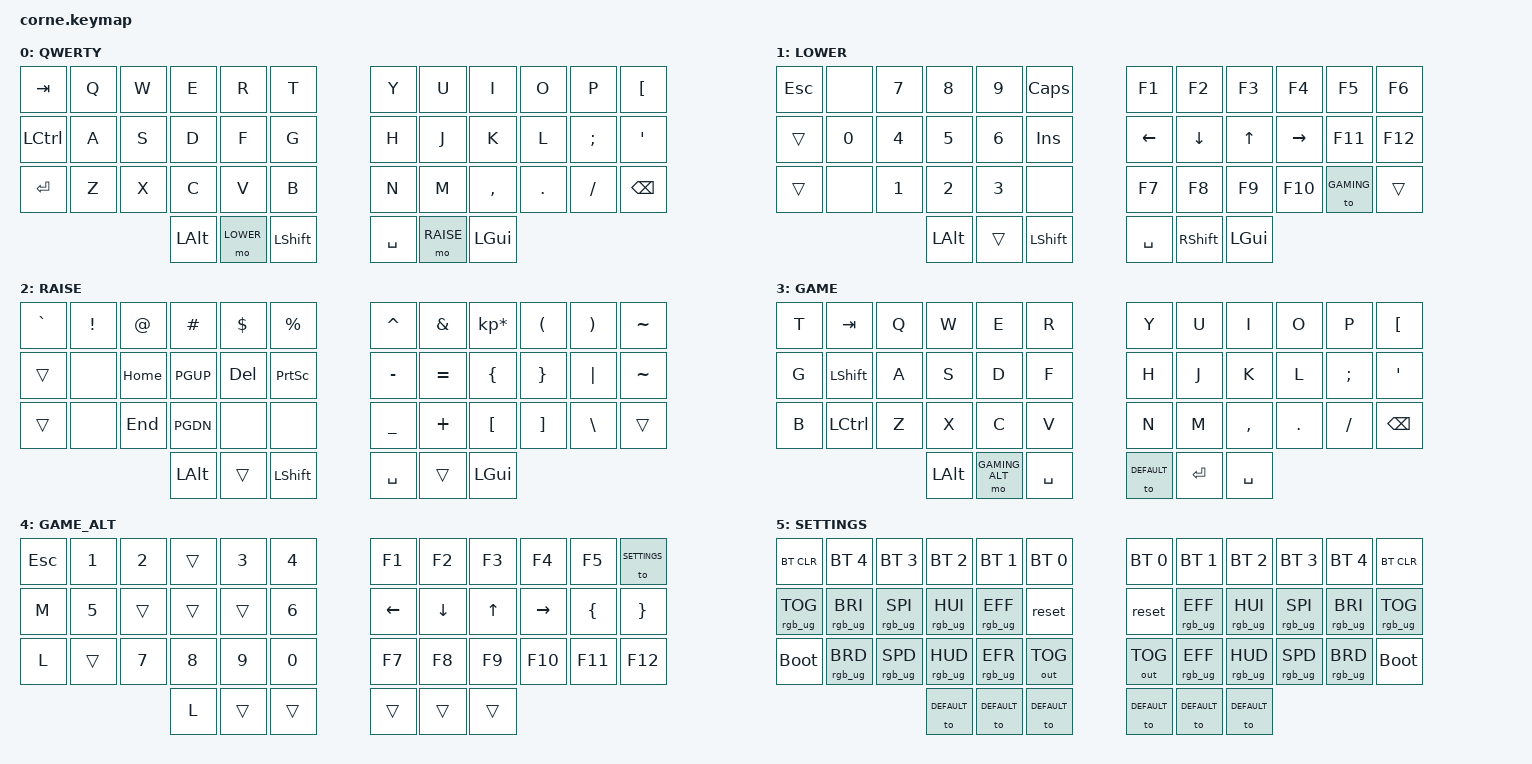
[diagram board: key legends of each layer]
/*
 * Copyright (c) 2020 The ZMK Contributors
 *
 * SPDX-License-Identifier: MIT
 */


#include <behaviors.dtsi>
#include <dt-bindings/zmk/keys.h>
#include <dt-bindings/zmk/bt.h>
#include <dt-bindings/zmk/outputs.h>
#include <dt-bindings/zmk/rgb.h>
#include <dt-bindings/zmk/outputs.h>

#define DEFAULT 0
#define LOWER 1
#define RAISE 2
#define GAMING 3
#define GAMING_ALT 4
#define SETTINGS 5

&lt {
    tapping-term-ms = <2000>;
};

 /{

        keymap {
                compatible = "zmk,keymap";

                default_layer {
                label = "QWERTY";
                bindings = <
// -------------------------------------------------------------------                              -------------------------------------------------------------------
// |    TAB   |     Q    |     W    |     E    |     R    |     T    |                              |     Y    |     U    |     I    |     O    |     P    |     [    |
// |   LCTRL  |     A    |     S    |     D    |     F    |     G    |______________________________|     H    |     J    |     K    |     L    |     ;    |     "    |
// |   ENTER  |     Z    |     X    |     C    |     V    |     B    |                              |     N    |     M    |     ,    |     .    |     /    | BACKSPACE|
// \\\\\\\\\\\\\\\\\\\\\\\\\\\\\\\\\|   LALT   |   LOWER  |   LSHFT  |                              |   SPACE  |   RAISE  |   LGUI   |/////////////////////////////////
// -------------------------------------------------------------------                              -------------------------------------------------------------------
    &kp TAB     &kp Q      &kp W       &kp E      &kp R     &kp T                                     &kp Y      &kp U      &kp I       &kp O     &kp P      &kp LBKT
    &kp LCTRL   &kp A      &kp S       &kp D      &kp F     &kp G                                     &kp H      &kp J      &kp K       &kp L     &kp SEMI   &kp SQT
    &kp ENTER   &kp Z      &kp X       &kp C      &kp V     &kp B                                     &kp N      &kp M      &kp COMMA   &kp DOT   &kp FSLH   &kp BSPC
                                       &kp LALT   &mo LOWER &kp  LSHFT                                &kp SPACE  &mo RAISE  &kp LGUI
                        >;
         };
                lower_layer {
                label = "LOWER";
                bindings = <
// -------------------------------------------------------------------                              -------------------------------------------------------------------
// |    ESC   |          |     7    |     8    |     9    |   CAPS   |                              |    F1    |    F2    |    F3    |    F4    |    F5    |    F6    |
// |   LCTRL  |     0    |     4    |     5    |     6    |   INS    |______________________________|  ArLeft  |  ArDown  |   ArUp   |  ArRight |    F11   |    F12   |
// |   ENTER  |          |     1    |     2    |     3    |          |                              |    F7    |    F8    |    F9    |    F10   |  GAMING  | BACKSPACE|
// \\\\\\\\\\\\\\\\\\\\\\\\\\\\\\\\\|    LALT  |   LOWER  |   LSHFT  |                              |  SPACE   |   RSHFT  |   LGUI   |/////////////////////////////////
// -------------------------------------------------------------------                              -------------------------------------------------------------------
    &kp ESC     &none      &kp N7      &kp N8     &kp N9    &kp CAPS                                  &kp F1     &kp F2     &kp F3      &kp F4    &kp F5     &kp F6
    &trans      &kp N0     &kp N4      &kp N5     &kp N6    &kp INS                                   &kp LEFT   &kp DOWN   &kp UP      &kp RIGHT &kp F11    &kp F12
    &trans      &none      &kp N1      &kp N2     &kp N3    &none                                     &kp F7     &kp F8     &kp F9      &kp F10   &to GAMING &trans
                                       &kp LALT   &trans    &kp LSHFT                                 &kp SPACE  &kp RSHFT  &kp LGUI 
                        >;
                };

                raise_layer {
                label = "RAISE";
                bindings = <
// -------------------------------------------------------------------                              -------------------------------------------------------------------
// |     `    |     !    |     @    |     #    |     $    |     %    |                              |     ^    |     &    |     *    |     (    |     )    |     ~    |
// |   LCTRL  |          |    HOME  |    PgUp  |    DEL   |   PRINT  |______________________________|     -    |     =    |     {    |     }    |     |    |     ~    |
// |   ENTER  |          |    END   |    PgDn  |          |          |                              |     _    |     +    |     [    |     ]    |     \    | BACKSPACE|
// \\\\\\\\\\\\\\\\\\\\\\\\\\\\\\\\\|    LALT  |   LOWER  |   LSHFT  |                              |   SPACE  |   RAISE  |   LGUI   |/////////////////////////////////
// -------------------------------------------------------------------                              -------------------------------------------------------------------
    &kp GRAVE   &kp EXCL   &kp AT      &kp HASH   &kp DLLR  &kp PRCNT                                 &kp CARET  &kp AMPS  &kp KP_MULTIPLY &kp LPAR &kp RPAR      &kp TILDE
    &trans      &none      &kp HOME    &kp PGUP   &kp DEL   &kp PSCRN                                 &kp MINUS  &kp EQUAL &kp LBRC        &kp RBRC &kp PIPE      &kp TILDE
    &trans      &none      &kp END     &kp PGDN   &none     &none                                     &kp UNDER  &kp PLUS  &kp LBKT        &kp RBKT &kp BACKSLASH &trans
                                       &kp LALT   &trans    &kp LSHFT                                 &kp SPACE  &trans    &kp LGUI 
                        >;
                };

                gaming_layer {
                label = "GAME";
                bindings = <
// -------------------------------------------------------------------                              -------------------------------------------------------------------
// |     T    |    TAB   |     Q    |     W    |     E    |     R    |                              |     Y    |     U    |     I    |     O    |     P    |     [    |
// |     G    |   LSHFT  |     A    |     S    |     D    |     F    |______________________________|     H    |     J    |     K    |     L    |     ;    |     "    |
// |     B    |   LCTRL  |     Z    |     X    |     C    |     V    |                              |     N    |     M    |     ,    |     .    |     /    | BACKSPACE|
// \\\\\\\\\\\\\\\\\\\\\\\\\\\\\\\\\|    LALT  |GAMING_ALT|   SPACE  |                              |  DEFAULT |   ENTER  |   SPACE  |/////////////////////////////////
// -------------------------------------------------------------------                              -------------------------------------------------------------------
    &kp T       &kp TAB    &kp Q       &kp W      &kp E          &kp R                                &kp Y       &kp U      &kp I      &kp O     &kp P      &kp LBKT
    &kp G       &kp LSHFT  &kp A       &kp S      &kp D          &kp F                                &kp H       &kp J      &kp K      &kp L     &kp SEMI   &kp SQT
    &kp B       &kp LCTRL  &kp Z       &kp X      &kp C          &kp V                                &kp N       &kp M      &kp COMMA  &kp DOT   &kp FSLH   &kp BSPC
                                       &kp LALT   &mo GAMING_ALT &kp SPACE                            &to DEFAULT &kp ENTER  &kp SPACE 
                        >;
                };
                   
                gaming_alt_layer {
                label = "GAME_ALT";
                bindings = <
// -------------------------------------------------------------------                              -------------------------------------------------------------------
// |    ESC   |     1    |     2    |     W    |     3    |     4    |                              |    F1    |    F2    |    F3    |    F4    |    F5    | SETTINGS |
// |     M    |     5    |     A    |     S    |     D    |     6    |______________________________|  ArLeft  |  ArDown  |   ArUp   |  ArRight |    [     |    ]     |
// |     L    |   LCTRL  |     7    |     8    |     9    |     0    |                              |    F7    |    F8    |    F9    |    F10   |    F11   |    F12   |
// \\\\\\\\\\\\\\\\\\\\\\\\\\\\\\\\\|    LALT  |GAMING_ALT|   SPACE  |                              |  DEFAULT |   ENTER  |   SPACE  |/////////////////////////////////
// -------------------------------------------------------------------                              -------------------------------------------------------------------
    &kp ESC     &kp N1     &kp N2      &trans     &kp N3     &kp N4                                   &kp F1      &kp F2     &kp F3     &kp F4    &kp F5     &to SETTINGS
    &kp M       &kp N5     &trans      &trans     &trans     &kp N6                                   &kp LEFT    &kp DOWN   &kp UP     &kp RIGHT &kp LBRC   &kp RBRC
    &kp L       &trans     &kp N7      &kp N8     &kp N9     &kp N0                                   &kp F7      &kp F8     &kp F9     &kp F10   &kp F11    &kp F12
                                       &kp L      &trans     &trans                                   &trans      &trans     &trans
                        >;
                };

                settings_layer {
                label = "SETTINGS";
                bindings = <
// -------------------------------------------------------------------------------------------------                              -------------------------------------------------------------------------------------------------
// |     BT_CLR    |      BT4      |       BT3     |       BT2     |       BT1     |      BT0      |                              |      BT0      |      BT1      |      BT2      |      BT3      |      BT4      |     BT_CLR    |
// |     RGB_TOG   |    RGB_BRI    |    RGB_SPI    |    RGB_HUI    |     RGB_EFF   |     Reset     |______________________________|     Reset     |     RGB_EFF   |    RGB_HUI    |    RGB_SPI    |    RGB_BRI    |     RGB_TOG   |
// |      BTLD     |    RGB_BRD    |    RGB_SPD    |    RGB_HUD    |     RGB_EFR   |     BT_USB    |                              |     BT_USB    |     RGB_EFR   |    RGB_HUD    |    RGB_SPD    |    RGB_BRD    |      BTLD     |
// \\\\\\\\\\\\\\\\\\\\\\\\\\\\\\\\\\\\\\\\\\\\\\\\|    DEFAULT    |     DEFAULT   |    DEFAULT    |                              |    DEFAULT    |    DEFAULT    |    DEFAULT    |////////////////////////////////////////////////
// -------------------------------------------------------------------------------------------------                              -------------------------------------------------------------------------------------------------
    &bt BT_CLR      &bt BT_SEL 4    &bt BT_SEL 3    &bt BT_SEL 2    &bt BT_SEL 1    &bt BT_SEL 0                                   &bt BT_SEL 0    &bt BT_SEL 1    &bt BT_SEL 2    &bt BT_SEL 3    &bt BT_SEL 4    &bt BT_CLR
    &rgb_ug RGB_TOG &rgb_ug RGB_BRI &rgb_ug RGB_SPI &rgb_ug RGB_HUI &rgb_ug RGB_EFF &reset                                         &reset          &rgb_ug RGB_EFF &rgb_ug RGB_HUI &rgb_ug RGB_SPI &rgb_ug RGB_BRI &rgb_ug RGB_TOG
    &bootloader     &rgb_ug RGB_BRD &rgb_ug RGB_SPD &rgb_ug RGB_HUD &rgb_ug RGB_EFR &out OUT_TOG                                   &out OUT_TOG    &rgb_ug RGB_EFF &rgb_ug RGB_HUD &rgb_ug RGB_SPD &rgb_ug RGB_BRD &bootloader
                                                    &to DEFAULT     &to DEFAULT     &to DEFAULT                                    &to DEFAULT     &to DEFAULT     &to DEFAULT 
                        >;
                };
       };
};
